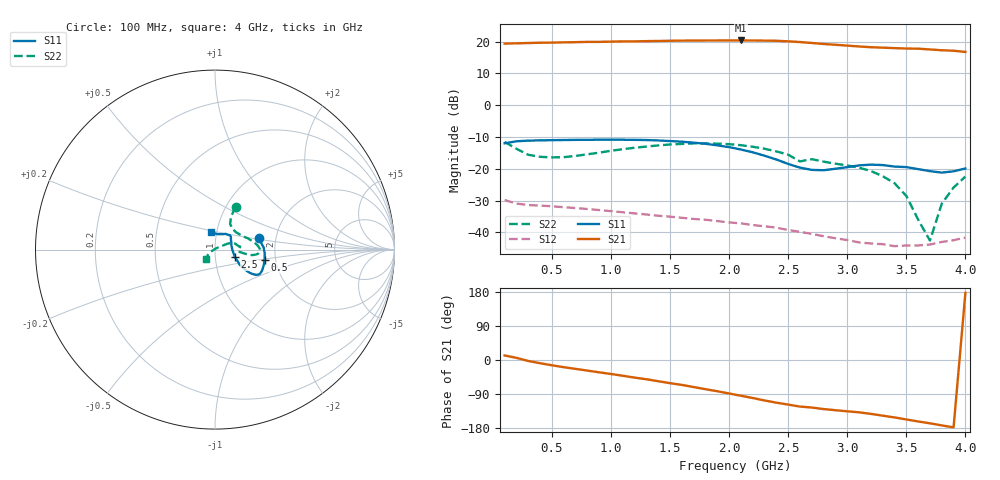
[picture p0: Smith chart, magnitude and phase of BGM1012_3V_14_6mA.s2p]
! Bias: Vs=3.00 V; Is=14.6 mA
#  MHz  S  MA  R 50
! Freq  S11  S21  S12  S22
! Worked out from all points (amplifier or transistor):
!   40 points, 100 MHz to 4 GHz, reference 50 ohm
!   highest |S21| = 20.4 dB at 2.1 GHz (marker M1)
!   |S21| within 3 dB of that: start of sweep to 3.766 GHz
!   unconditionally stable (mu >= 1): start of sweep to end of sweep
!   at 700 MHz: K = 1.98, MAG = 20.4 dB, |S12| = -32.4 dB
!   at 2.1 GHz: K = 3.20, MAG = 20.8 dB, |S12| = -37.2 dB
!   at 4 GHz: K = 8.67, MAG = 16.9 dB, |S12| = -41.7 dB
!   S11 on the Smith chart (normalised r, x): 100 MHz: 1.62, +0.22; 500 MHz: 1.75, -0.21; 2.5 GHz: 1.25, -0.11; 4 GHz: 0.94, +0.19
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100  0.2512 14.6  9.337 12.0  0.03212 16.4  0.2646 64.2
200  0.2707 2.8  9.425 5.7  0.0283 6.4  0.2064 64.2
300  0.277 -3.4  9.532 -2.6  0.02683 0.1  0.166 59.6
500  0.2817 -11.6  9.683 -13.9  0.02565 -7.5  0.1509 45.7
800  0.2856 -20.1  9.938 -27.9  0.02323 -14.6  0.1687 27.9
1100  0.2862 -25.9  10.12 -41.6  0.02066 -18.6  0.2029 15.7
1400  0.279 -29.9  10.27 -56.0  0.01823 -21.1  0.2329 7.2
1600  0.2668 -31.8  10.41 -65.8  0.0169 -21.6  0.246 2.6
1800  0.2475 -33.1  10.44 -77.0  0.01576 -22.3  0.2511 -1.3
2100  0.2008 -33.8  10.46 -94.3  0.0138 -22.6  0.2348 -6.4
2300  0.1603 -31.4  10.4 -106.8  0.01243 -23.8  0.2064 -8.6
2500  0.119 -20.8  10.14 -117.7  0.01086 -23.9  0.1664 -7.7
2600  0.1042 -10.2  9.88 -122.9  0.01017 -23.2  0.1305 -4.6
2700  0.09597 0.6  9.548 -125.4  0.00943 -19.9  0.1414 7.0
2900  0.1 25.3  8.952 -132.5  0.008055 -14.6  0.1203 14.7
3100  0.1129 38.2  8.418 -138.1  0.006927 -5.4  0.1039 22.0
3400  0.1083 50.0  7.93 -151.5  0.006042 12.4  0.05927 26.5
3600  0.09866 61.0  7.775 -162.2  0.006205 29.3  0.01583 38.2
3700  0.09173 69.1  7.548 -167.1  0.006414 34.5  0.007399 -170.5
3800  0.08693 80.4  7.338 -172.6  0.007039 40.4  0.02816 -152.8
3900  0.09112 92.7  7.214 -177.8  0.007496 46.4  0.05064 -142.8
4000  0.1009 102.1  6.909 177.1  0.008241 46.1  0.0753 -133.1
